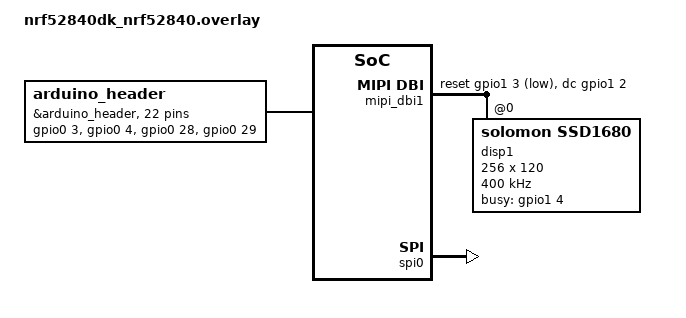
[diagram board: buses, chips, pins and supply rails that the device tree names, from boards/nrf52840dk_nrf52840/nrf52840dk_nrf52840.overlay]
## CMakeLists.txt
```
cmake_minimum_required(VERSION 3.20.0)
find_package(Zephyr REQUIRED HINTS $ENV{ZEPHYR_BASE})
project(lvgl_attempt_5)

target_sources(app PRIVATE
    src/main.c
    src/examples/lv_example_get_started_1.c
)
```

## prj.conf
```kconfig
CONFIG_DISPLAY=y
CONFIG_SSD16XX=y
CONFIG_SPI=y
CONFIG_SPI_NRFX=y
CONFIG_GPIO=y
CONFIG_GPIO_NRFX=y
CONFIG_LOG=y
CONFIG_PRINTK=y
CONFIG_DISPLAY_LOG_LEVEL_DBG=y
CONFIG_SERIAL=y
CONFIG_UART_CONSOLE=y
CONFIG_CONSOLE=y
# CONFIG_LV_CONF_SKIP=y
CONFIG_LVGL=y
CONFIG_LV_Z_MEMORY_POOL_CUSTOM_SECTION=n

# CONFIG_LV_LOG_LEVEL_TRACE=y

CONFIG_MAIN_STACK_SIZE=8192
CONFIG_HEAP_MEM_POOL_SIZE=65536
CONFIG_LV_MEM_SIZE_KILOBYTES=64

CONFIG_ASSERT=y
CONFIG_DEBUG_THREAD_INFO=y
CONFIG_THREAD_NAME=y
CONFIG_LOG_MODE_IMMEDIATE=y

# CONFIG_LVGL_USE_LABEL=y
# CONFIG_LV_BUILD_EXAMPLES=y
# CONFIG_LV_COLOR_DEPTH_1=y
# CONFIG_LVGL_BUFFER_ALLOC_STATIC=y

# CONFIG_LV_CACHE_DEF_SIZE=0

# CONFIG_LV_MEM_SIZE_KILOBYTES=8
# CONFIG_LV_USE_LOG=y
# CONFIG_LV_LOG_LEVEL=4
```

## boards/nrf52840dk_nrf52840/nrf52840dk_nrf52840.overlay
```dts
/{
    chosen {
        zephyr,display = &disp1;
    };
    
    mipi_dbi1 {
        compatible = "zephyr,mipi-dbi-spi";
        dc-gpios = <&gpio1 2 GPIO_ACTIVE_HIGH>;
        reset-gpios = <&gpio1 3 GPIO_ACTIVE_LOW>;
        spi-dev = <&spi0>;
        write-only;
        #address-cells = <1>;
        #size-cells = <0>;
        status = "okay";
        disp1: ssd1680@0 {
            compatible = "solomon,ssd1680";
            reg = <0>;
            busy-gpios = <&gpio1 4 (GPIO_PULL_DOWN | GPIO_ACTIVE_HIGH)>;
            width = <256>;
            height = <120>;
            rotation = <0>;
            mipi-max-frequency = <400000>;
      
            full {};
            // partial {};

            status = "okay";
        };
    };
};

&spi0 {
    status = "okay";
    cs-gpios = <&gpio1 1 GPIO_ACTIVE_LOW>;
};

&gpio1 {
    status = "okay";
};

&arduino_i2c {
    status = "disabled";
};

&arduino_header {
 gpio-map = <0 0 &gpio0 3 0>,
            <1 0 &gpio0 4 0>,
            <2 0 &gpio0 28 0>,
            <3 0 &gpio0 29 0>,
            <4 0 &gpio0 30 0>,
            <5 0 &gpio0 31 0>,
            <6 0 &gpio1 1 0>,
            <7 0 &gpio1 2 0>,
            <8 0 &gpio1 3 0>,
            <9 0 &gpio1 4 0>,
            <10 0 &gpio1 5 0>,
            <11 0 &gpio1 6 0>,
            <12 0 &gpio1 7 0>,
            <13 0 &gpio1 8 0>,
            <14 0 &gpio1 10 0>,
            <15 0 &gpio1 11 0>,
            <16 0 &gpio1 12 0>,
            <17 0 &gpio1 13 0>,
            <18 0 &gpio1 14 0>,
            <19 0 &gpio1 15 0>,
            <20 0 &gpio0 26 0>,
            <21 0 &gpio0 27 0>;
};
```

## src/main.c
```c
#include <zephyr/kernel.h>
#include <zephyr/device.h>
#include <zephyr/drivers/display.h>
#include <lvgl.h>
#include "examples/lv_example_get_started.h"

void main(void)
{
    const struct device *display = DEVICE_DT_GET_ANY(ssd1680);
    if (!device_is_ready(display)) {
        printk("Display not ready\n");
        return;
    }

    display_blanking_off(display);

    /* Run LVGL example */
    lv_example_get_started_1();

    k_msleep(2000);

    while (1) {
        lv_task_handler();
        k_msleep(100);
    }
}
```
